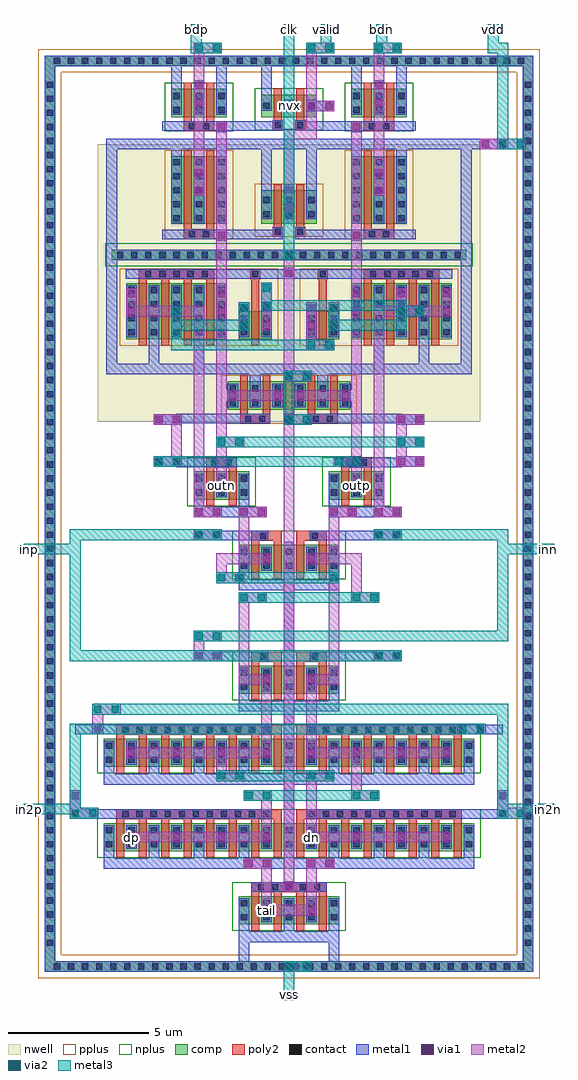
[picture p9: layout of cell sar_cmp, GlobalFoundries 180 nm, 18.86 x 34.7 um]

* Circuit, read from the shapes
.subckt sar_cmp bdn bdp clk dn dp in2n in2p inn inp nvx outn outp tail valid vdd vss
XM1 dp in2p tail vss nfet_03v3 w=1u l=0.28u m=16
XM2 dn in2n tail vss nfet_03v3 w=1u l=0.28u m=16
XM3 bdp outn vss vss nfet_03v3 w=1u l=0.28u m=2
XM4 outn outp dp vss nfet_03v3 w=1u l=0.28u m=2
XM5 tail clk vss vss nfet_03v3 w=1u l=0.28u m=4
XM6 dn inn tail vss nfet_03v3 w=1u l=0.28u m=4
XM7 dp inp tail vss nfet_03v3 w=1u l=0.28u m=4
XM8 nvx outn vss vss nfet_03v3 w=0.8u l=0.28u
XM9 valid outp nvx vss nfet_03v3 w=0.8u l=0.28u
XM10 outp outn dn vss nfet_03v3 w=1u l=0.28u m=2
XM11 bdn outp vss vss nfet_03v3 w=1u l=0.28u m=2
XM12 vdd clk dp vdd pfet_03v3 w=2u l=0.28u m=3
XM13 bdp outn vdd vdd pfet_03v3 w=2.4u l=0.28u m=2
XM14 outn clk vdd vdd pfet_03v3 w=2u l=0.28u
XM15 vdd outp outn vdd pfet_03v3 w=1u l=0.28u m=2
XM16 dn clk dp vdd pfet_03v3 w=1u l=0.28u m=2
XM17 valid outn vdd vdd pfet_03v3 w=1.2u l=0.28u
XM18 outp clk outn vdd pfet_03v3 w=1u l=0.28u
XM19 vdd outp valid vdd pfet_03v3 w=1.2u l=0.28u
XM20 vdd outn outp vdd pfet_03v3 w=1u l=0.28u m=2
XM21 vdd clk outp vdd pfet_03v3 w=2u l=0.28u
XM22 bdn outp vdd vdd pfet_03v3 w=2.4u l=0.28u m=2
XM23 dn clk vdd vdd pfet_03v3 w=2u l=0.28u m=3
.ends

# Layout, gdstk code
import gdstk
lib = gdstk.Library(unit=1e-6, precision=1e-09)
def R(c, l, rs):  # rectangles x0, y0, x1, y1
    for r in rs: c.add(gdstk.rectangle(r[:2], r[2:], *l))
def A(c, l, x, y, w, h, nx, ny, dx, dy):  # array of equal rectangles
    R(c, l, [(x+i*dx, y+j*dy, x+i*dx+w, y+j*dy+h) for i in range(nx) for j in range(ny)])
nwell = (21, 0)
comp = (22, 0)
poly2 = (30, 0)
pplus = (31, 0)
nplus = (32, 0)
contact = (33, 0)
metal1 = (34, 0)
via1 = (35, 0)
metal2 = (36, 0)
via2 = (38, 0)
metal3 = (42, 0)

sar_cmp = lib.new_cell('sar_cmp')
R(sar_cmp, nwell, [(2.44,20.37,16.04,30.23)])
R(sar_cmp, comp, [(0.56,0.82,0.92,33.38), (0.74,0.82,17.74,1.18), (17.56,0.82,17.92,33.38), (7.46,2.5,11.02,3.5), (2.66,5.1,15.82,6.1), (2.66,8.1,15.82,9.1), (7.46,10.7,11.02,11.7), (7.46,15,11.02,16), (5.86,17.6,7.82,18.6), (10.66,17.6,12.62,18.6), (7.06,20.8,11.42,21.8), (3.46,23.3,7.02,25.3), (7.46,23.3,8.62,24.3), (9.86,23.3,11.02,24.3), (11.46,23.3,15.02,25.3), (2.94,26.12,15.54,26.48), (5.06,27.4,7.02,29.8), (8.26,27.4,10.22,28.6), (11.46,27.4,13.42,29.8), (5.06,31.2,7.02,32.2), (8.26,31.2,10.22,32), (11.46,31.2,13.42,32.2), (0.74,33.02,17.74,33.38)])
A(sar_cmp, poly2, 7.9, 2.28, 0.28, 1.72, 4, 2, 0.8, 8.2)
A(sar_cmp, poly2, 3.1, 4.88, 0.28, 1.72, 16, 2, 0.8, 3)
A(sar_cmp, poly2, 7.9, 14.78, 0.28, 1.72, 4, 1, 0.8, 0)
A(sar_cmp, poly2, 7.5, 20.3, 0.28, 1.72, 5, 1, 0.8, 0)
A(sar_cmp, poly2, 3.9, 23.08, 0.28, 2.72, 4, 1, 0.8, 0)
A(sar_cmp, poly2, 11.9, 23.08, 0.28, 2.72, 4, 1, 0.8, 0)
R(sar_cmp, poly2, [(7.9,3.64,10.58,4), (3.1,6.24,8.98,6.6), (9.5,6.24,15.38,6.6), (3.1,9.24,8.98,9.6), (9.5,9.24,15.38,9.6), (7.9,11.84,8.98,12.2), (9.5,11.84,10.58,12.2), (7.9,16.14,8.98,16.5), (9.5,16.14,10.58,16.5), (6.3,17.38,6.58,19.1), (7.1,17.38,7.38,19.1), (11.1,17.38,11.38,19.1), (11.9,17.38,12.18,19.1), (6.3,18.74,7.38,19.1), (11.1,18.74,12.18,19.1), (7.5,20.3,8.58,20.66), (9.06,20.3,9.42,20.66), (9.9,20.3,10.98,20.66), (7.9,23.08,8.18,25.8), (10.3,23.08,10.58,25.8), (3.9,25.44,6.58,25.8), (7.86,25.44,8.22,25.8), (10.26,25.44,10.62,25.8), (11.9,25.44,14.58,25.8), (5.5,26.85,5.78,30.02), (5.5,26.85,6.58,27.21), (6.3,26.85,6.58,30.02), (11.9,26.85,12.18,30.02), (11.9,26.85,12.98,27.21), (12.7,26.85,12.98,30.02), (8.66,26.94,9.02,27.3), (8.7,26.94,8.98,28.82), (9.46,26.94,9.82,27.3), (9.5,26.94,9.78,28.82), (5.5,30.7,6.58,31.06), (5.5,30.7,5.78,32.42), (6.3,30.7,6.58,32.42), (11.9,30.7,12.98,31.06), (11.9,30.7,12.18,32.42), (12.7,30.7,12.98,32.42), (8.66,30.74,9.02,31.1), (8.7,30.74,8.98,32.22), (9.46,30.74,9.82,31.1), (9.5,30.74,9.78,32.22)])
R(sar_cmp, pplus, [(0.33,0.59,1.15,33.61), (0.51,0.59,17.97,1.41), (17.33,0.59,18.15,33.61), (6.83,20.3,11.65,22.03), (3.23,23.07,7.25,25.8), (7.23,23.07,8.85,25.8), (9.63,23.07,11.25,25.8), (11.23,23.07,15.25,25.8), (4.83,26.85,7.25,30.03), (11.23,26.85,13.65,30.03), (8.03,26.94,10.45,28.83), (0.51,32.79,17.97,33.61)])
R(sar_cmp, nplus, [(7.23,2.27,11.25,4), (2.43,4.87,16.05,6.6), (2.43,7.87,16.05,9.6), (7.23,10.47,11.25,12.2), (7.23,14.77,11.25,16.5), (5.63,17.37,8.05,19.1), (10.43,17.37,12.85,19.1), (2.71,25.89,15.77,26.71), (4.83,30.7,7.25,32.43), (11.23,30.7,13.65,32.43), (8.03,30.74,10.45,32.23)])
A(sar_cmp, contact, 0.88, 0.89, 0.22, 0.22, 34, 2, 0.5, 32.2)
A(sar_cmp, contact, 0.63, 1.74, 0.22, 0.22, 1, 62, 0, 0.5)
A(sar_cmp, contact, 17.63, 1.74, 0.22, 0.22, 1, 62, 0, 0.5)
A(sar_cmp, contact, 7.53, 2.64, 0.22, 0.22, 5, 2, 0.8, 0.5)
A(sar_cmp, contact, 8.13, 3.71, 0.22, 0.22, 5, 1, 0.5, 0)
A(sar_cmp, contact, 2.73, 5.24, 0.22, 0.22, 17, 2, 0.8, 0.5)
A(sar_cmp, contact, 3.315, 6.31, 0.22, 0.22, 11, 2, 0.5, 3)
A(sar_cmp, contact, 9.945, 6.31, 0.22, 0.22, 11, 2, 0.5, 3)
A(sar_cmp, contact, 2.73, 8.24, 0.22, 0.22, 17, 2, 0.8, 0.5)
A(sar_cmp, contact, 7.53, 10.84, 0.22, 0.22, 5, 2, 0.8, 0.5)
A(sar_cmp, contact, 7.53, 15.14, 0.22, 0.22, 5, 2, 0.8, 0.5)
A(sar_cmp, contact, 5.93, 17.74, 0.22, 0.22, 3, 2, 0.8, 0.5)
A(sar_cmp, contact, 10.73, 17.74, 0.22, 0.22, 3, 2, 0.8, 0.5)
A(sar_cmp, contact, 8.18, 20.37, 0.22, 0.22, 3, 1, 0.95, 0)
A(sar_cmp, contact, 7.13, 20.94, 0.22, 0.22, 6, 2, 0.8, 0.5)
A(sar_cmp, contact, 3.53, 23.44, 0.22, 0.22, 7, 2, 0.8, 0.5)
A(sar_cmp, contact, 9.93, 23.44, 0.22, 0.22, 7, 2, 0.8, 0.5)
A(sar_cmp, contact, 3.53, 24.44, 0.22, 0.22, 5, 2, 0.8, 0.5)
A(sar_cmp, contact, 11.53, 24.44, 0.22, 0.22, 5, 2, 0.8, 0.5)
A(sar_cmp, contact, 4.13, 25.51, 0.22, 0.22, 5, 1, 0.5, 0)
A(sar_cmp, contact, 12.13, 25.51, 0.22, 0.22, 5, 1, 0.5, 0)
A(sar_cmp, contact, 3.13, 26.19, 0.22, 0.22, 25, 1, 0.5, 0)
A(sar_cmp, contact, 5.13, 27.49, 0.22, 0.22, 3, 5, 0.8, 0.5)
A(sar_cmp, contact, 11.53, 27.49, 0.22, 0.22, 3, 5, 0.8, 0.5)
A(sar_cmp, contact, 8.33, 27.64, 0.22, 0.22, 3, 2, 0.8, 0.5)
A(sar_cmp, contact, 5.13, 31.34, 0.22, 0.22, 3, 2, 0.8, 0.5)
A(sar_cmp, contact, 11.53, 31.34, 0.22, 0.22, 3, 2, 0.8, 0.5)
A(sar_cmp, contact, 8.33, 31.49, 0.22, 0.22, 3, 1, 0.8, 0)
R(sar_cmp, contact, [(8.215,11.91,8.435,12.13), (10.045,11.91,10.265,12.13), (8.215,16.21,8.435,16.43), (10.045,16.21,10.265,16.43), (6.48,18.81,6.7,19.03), (6.98,18.81,7.2,19.03), (11.28,18.81,11.5,19.03), (11.78,18.81,12,19.03), (7.68,20.37,7.9,20.59), (10.58,20.37,10.8,20.59), (7.93,25.51,8.15,25.73), (10.33,25.51,10.55,25.73), (5.68,26.92,5.9,27.14), (6.18,26.92,6.4,27.14), (12.08,26.92,12.3,27.14), (12.58,26.92,12.8,27.14), (8.73,27.01,8.95,27.23), (9.53,27.01,9.75,27.23), (5.68,30.77,5.9,30.99), (6.18,30.77,6.4,30.99), (12.08,30.77,12.3,30.99), (12.58,30.77,12.8,30.99), (8.73,30.81,8.95,31.03), (9.53,30.81,9.75,31.03)])
A(sar_cmp, metal1, 7.45, 1.87, 0.38, 1.55, 3, 2, 1.6, 8.2)
A(sar_cmp, metal1, 7.45, 2.58, 0.38, 0.84, 5, 2, 0.8, 8.2)
A(sar_cmp, metal1, 2.65, 4.47, 0.38, 1.55, 9, 2, 1.6, 3)
A(sar_cmp, metal1, 2.65, 5.18, 0.38, 0.84, 17, 2, 0.8, 3)
A(sar_cmp, metal1, 7.45, 14.37, 0.38, 1.55, 3, 1, 1.6, 0)
A(sar_cmp, metal1, 7.45, 15.08, 0.38, 0.84, 5, 1, 0.8, 0)
A(sar_cmp, metal1, 5.85, 17.68, 0.38, 0.84, 3, 1, 0.8, 0)
A(sar_cmp, metal1, 10.65, 17.68, 0.38, 0.84, 3, 1, 0.8, 0)
A(sar_cmp, metal1, 7.05, 20.88, 0.38, 0.84, 6, 1, 0.8, 0)
A(sar_cmp, metal1, 3.45, 23.38, 0.38, 1.84, 5, 1, 0.8, 0)
A(sar_cmp, metal1, 11.45, 23.38, 0.38, 1.84, 5, 1, 0.8, 0)
A(sar_cmp, metal1, 11.45, 24.11, 0.38, 1, 3, 1, 1.6, 0)
A(sar_cmp, metal1, 5.05, 27.43, 0.38, 2.34, 3, 1, 0.8, 0)
A(sar_cmp, metal1, 11.45, 27.43, 0.38, 2.34, 3, 1, 0.8, 0)
A(sar_cmp, metal1, 8.25, 27.58, 0.38, 0.84, 3, 1, 0.8, 0)
A(sar_cmp, metal1, 5.05, 30.05, 1.98, 0.38, 3, 1, 3.2, 0)
A(sar_cmp, metal1, 5.05, 31.28, 0.38, 0.84, 3, 1, 0.8, 0)
A(sar_cmp, metal1, 11.45, 31.28, 0.38, 0.84, 3, 1, 0.8, 0)
A(sar_cmp, metal1, 8.25, 31.43, 0.38, 0.38, 3, 1, 0.8, 0)
R(sar_cmp, metal1, [(0.74,0.81,17.74,1.19), (7.45,0.81,7.83,2.25), (9.05,0.81,9.43,1.19), (9.05,0.81,9.43,1.19), (9.05,0.81,10.05,1.19), (10.65,0.81,11.03,2.25), (0.55,0.82,0.93,33.38), (17.55,0.82,17.93,33.38), (7.45,1.87,11.03,2.25), (8.25,2.81,8.63,3.19), (8.25,2.81,8.63,3.19), (9.85,2.81,10.23,3.19), (9.85,2.81,10.23,3.19), (7.9,3.65,10.58,3.99), (9.05,3.66,9.43,4.04), (9.05,3.66,9.43,4.04), (2.65,4.47,15.83,4.85), (7.63,4.47,8.63,4.85), (8.25,4.47,8.63,4.85), (8.25,4.47,8.63,4.85), (9.05,4.47,9.43,16.11), (9.85,4.47,10.23,4.85), (9.85,4.47,10.23,4.85), (9.85,4.47,10.85,4.85), (3.45,5.41,3.83,5.79), (3.45,5.41,3.83,5.79), (5.05,5.41,5.43,5.79), (5.05,5.41,5.43,5.79), (6.65,5.41,7.03,5.79), (6.65,5.41,7.03,5.79), (8.25,5.41,8.63,5.79), (8.25,5.41,8.63,5.79), (9.85,5.41,10.23,5.79), (9.85,5.41,10.23,5.79), (11.45,5.41,11.83,5.79), (11.45,5.41,11.83,5.79), (13.05,5.41,13.43,5.79), (13.05,5.41,13.43,5.79), (14.65,5.41,15.03,5.79), (14.65,5.41,15.03,5.79), (1.64,6.25,8.595,6.59), (9.885,6.25,16.84,6.59), (1.45,6.26,1.83,6.64), (1.45,6.26,1.83,6.64), (1.45,6.26,1.83,7.26), (16.65,6.26,17.03,6.64), (16.65,6.26,17.03,6.64), (16.65,6.26,17.03,7.26), (2.65,7.47,15.83,7.85), (3.45,8.41,3.83,8.79), (3.45,8.41,3.83,8.79), (5.05,8.41,5.43,8.79), (5.05,8.41,5.43,8.79), (6.65,8.41,7.03,8.79), (6.65,8.41,7.03,8.79), (8.25,8.41,8.63,8.79), (8.25,8.41,8.63,8.79), (9.85,8.41,10.23,8.79), (9.85,8.41,10.23,8.79), (11.45,8.41,11.83,8.79), (11.45,8.41,11.83,8.79), (13.05,8.41,13.43,8.79), (13.05,8.41,13.43,8.79), (14.65,8.41,15.03,8.79), (14.65,8.41,15.03,8.79), (1.64,9.25,8.595,9.59), (9.885,9.25,16.84,9.59), (2.25,9.26,2.63,9.64), (2.25,9.26,2.63,9.64), (15.85,9.26,16.23,9.64), (15.85,9.26,16.23,9.64), (7.45,10.07,11.03,10.45), (8.25,11.01,8.63,11.39), (8.25,11.01,8.63,11.39), (9.85,11.01,10.23,11.39), (9.85,11.01,10.23,11.39), (6.04,11.85,8.495,12.19), (9.985,11.85,12.44,12.19), (5.85,11.86,6.23,12.24), (5.85,11.86,6.23,12.24), (5.85,11.86,6.85,12.24), (12.25,11.86,12.63,12.24), (12.25,11.86,12.63,12.24), (12.25,11.86,13.25,12.24), (7.45,14.37,11.03,14.75), (8.25,15.31,8.63,15.69), (8.25,15.31,8.63,15.69), (9.85,15.31,10.23,15.69), (9.85,15.31,10.23,15.69), (6.04,16.15,8.495,16.49), (9.985,16.15,12.44,16.49), (5.85,16.16,6.23,16.54), (5.85,16.16,6.23,16.54), (5.85,16.16,6.85,16.54), (12.25,16.16,12.63,16.54), (12.25,16.16,12.63,16.54), (12.25,16.16,13.25,16.54), (5.85,16.97,7.83,17.35), (5.85,16.97,6.23,18.52), (5.85,16.97,6.23,17.35), (5.85,16.97,6.23,17.35), (5.85,16.97,6.85,17.35), (7.45,16.97,7.83,18.52), (7.45,16.97,7.83,17.35), (7.45,16.97,7.83,17.35), (7.45,16.97,8.45,17.35), (10.65,16.97,12.63,17.35), (10.65,16.97,11.03,18.52), (10.65,16.97,11.03,17.35), (10.65,16.97,11.03,17.35), (10.65,16.97,11.65,17.35), (12.25,16.97,12.63,18.52), (12.25,16.97,12.63,17.35), (12.25,16.97,12.63,17.35), (12.25,16.97,13.25,17.35), (6.65,17.91,7.03,18.29), (6.65,17.91,7.03,18.29), (11.45,17.91,11.83,18.29), (11.45,17.91,11.83,18.29), (5.24,18.75,7.38,19.09), (11.1,18.75,13.24,19.09), (4.43,18.76,5.43,19.14), (5.05,18.76,5.43,19.14), (5.05,18.76,5.43,19.14), (13.05,18.76,13.43,19.14), (13.05,18.76,13.43,19.14), (13.05,18.76,14.05,19.14), (4.43,20.26,5.43,20.64), (5.05,20.26,5.43,20.64), (5.05,20.26,5.43,20.64), (9.05,20.26,9.43,20.64), (9.05,20.26,9.43,20.64), (13.05,20.26,13.43,20.64), (13.05,20.26,13.43,20.64), (13.05,20.26,14.05,20.64), (5.24,20.31,8.58,20.65), (9.06,20.31,9.42,20.65), (9.9,20.31,13.24,20.65), (7.85,20.88,8.23,22.43), (10.25,20.88,10.63,22.43), (7.05,21.11,7.43,21.49), (7.05,21.11,7.43,21.49), (8.65,21.11,9.03,21.49), (8.65,21.11,9.03,21.49), (9.45,21.11,9.83,21.49), (9.45,21.11,9.83,21.49), (11.05,21.11,11.43,21.49), (11.05,21.11,11.43,21.49), (2.75,22.05,15.73,22.43), (2.75,22.05,3.13,26.49), (4.25,22.05,6.23,22.43), (4.25,22.05,4.63,25.22), (5.85,22.05,6.23,25.22), (7.85,22.05,10.63,22.43), (12.25,22.05,14.23,22.43), (12.25,22.05,12.63,25.22), (13.85,22.05,14.23,25.22), (15.35,22.05,15.73,26.49), (7.45,23.38,7.83,24.22), (8.25,23.38,8.63,24.22), (9.85,23.38,10.23,24.22), (10.65,23.38,11.03,24.22), (7.45,23.61,7.83,23.99), (7.45,23.61,7.83,23.99), (7.45,23.61,7.83,24.61), (8.25,23.61,8.63,23.99), (8.25,23.61,8.63,23.99), (8.25,23.61,8.63,24.61), (9.85,23.61,10.23,23.99), (9.85,23.61,10.23,23.99), (9.85,23.61,10.23,24.61), (10.65,23.61,11.03,23.99), (10.65,23.61,11.03,23.99), (10.65,23.61,11.03,24.61), (3.45,24.11,3.83,24.49), (3.45,24.11,3.83,24.49), (3.45,24.11,3.83,25.11), (5.05,24.11,5.43,24.49), (5.05,24.11,5.43,24.49), (6.65,24.11,7.03,24.49), (6.65,24.11,7.03,24.49), (6.65,24.11,7.03,25.11), (11.45,24.11,11.83,24.49), (11.45,24.11,11.83,24.49), (13.05,24.11,13.43,24.49), (13.05,24.11,13.43,24.49), (14.65,24.11,15.03,24.49), (14.65,24.11,15.03,24.49), (3.44,25.45,6.58,25.79), (3.74,25.45,14.74,25.79), (7.86,25.45,8.22,25.79), (10.26,25.45,10.62,25.79), (11.9,25.45,15.04,25.79), (9.05,25.46,9.43,25.84), (9.05,25.46,9.43,25.84), (2.75,26.11,3.13,30.43), (2.94,26.11,15.54,26.49), (15.35,26.11,15.73,30.43), (6.65,26.81,7.03,27.19), (6.65,26.81,7.03,27.19), (11.45,26.81,11.83,27.19), (11.45,26.81,11.83,27.19), (4.74,26.86,9.01,27.2), (9.47,26.86,13.74,27.2), (8.66,26.95,9.02,27.29), (9.46,26.95,9.82,27.29), (5.05,27.43,5.43,30.43), (6.65,27.43,7.03,30.43), (11.45,27.43,11.83,30.43), (13.05,27.43,13.43,30.43), (8.25,27.58,8.63,30.43), (9.85,27.58,10.23,30.43), (9.05,27.81,9.43,28.19), (9.05,27.81,9.43,28.19), (9.05,27.81,9.43,28.81), (5.85,28.41,6.23,28.79), (5.85,28.41,6.23,28.79), (5.85,28.41,6.23,29.41), (12.25,28.41,12.63,28.79), (12.25,28.41,12.63,28.79), (12.25,28.41,12.63,29.41), (2.75,30.05,17.03,30.43), (16.03,30.05,17.03,30.43), (16.65,30.05,17.03,30.43), (16.65,30.05,17.03,30.43), (6.65,30.66,7.03,31.04), (6.65,30.66,7.03,31.04), (11.45,30.66,11.83,31.04), (11.45,30.66,11.83,31.04), (4.74,30.71,9.01,31.05), (9.47,30.71,13.74,31.05), (8.66,30.75,9.02,31.09), (9.46,30.75,9.82,31.09), (5.05,31.28,5.43,33.39), (6.65,31.28,7.03,33.39), (11.45,31.28,11.83,33.39), (13.05,31.28,13.43,33.39), (9.85,31.41,10.23,31.79), (9.85,31.41,10.23,31.79), (9.85,31.41,10.85,31.79), (8.25,31.43,8.63,33.39), (5.85,31.51,6.23,31.89), (5.85,31.51,6.23,31.89), (5.85,31.51,6.23,32.51), (12.25,31.51,12.63,31.89), (12.25,31.51,12.63,31.89), (12.25,31.51,12.63,32.51), (0.74,33.01,17.74,33.39)])
A(sar_cmp, via1, 3.51, 5.47, 0.26, 0.26, 8, 2, 1.6, 3)
A(sar_cmp, via1, 5.11, 20.32, 0.26, 0.26, 3, 1, 4, 0)
A(sar_cmp, via1, 3.51, 24.17, 0.26, 0.26, 3, 1, 1.6, 0)
A(sar_cmp, via1, 11.51, 24.17, 0.26, 0.26, 3, 2, 1.6, 0.62)
R(sar_cmp, via1, [(9.11,0.87,9.37,1.13), (9.73,0.87,9.99,1.13), (8.31,2.87,8.57,3.13), (9.91,2.87,10.17,3.13), (9.11,3.72,9.37,3.98), (7.69,4.53,7.95,4.79), (8.31,4.53,8.57,4.79), (9.91,4.53,10.17,4.79), (10.53,4.53,10.79,4.79), (1.51,6.32,1.77,6.58), (16.71,6.32,16.97,6.58), (1.51,6.94,1.77,7.2), (16.71,6.94,16.97,7.2), (2.31,9.32,2.57,9.58), (15.91,9.32,16.17,9.58), (8.31,11.07,8.57,11.33), (9.91,11.07,10.17,11.33), (5.91,11.92,6.17,12.18), (6.53,11.92,6.79,12.18), (12.31,11.92,12.57,12.18), (12.93,11.92,13.19,12.18), (8.31,15.37,8.57,15.63), (9.91,15.37,10.17,15.63), (5.91,16.22,6.17,16.48), (6.53,16.22,6.79,16.48), (12.31,16.22,12.57,16.48), (12.93,16.22,13.19,16.48), (5.91,17.03,6.17,17.29), (6.53,17.03,6.79,17.29), (7.51,17.03,7.77,17.29), (8.13,17.03,8.39,17.29), (10.71,17.03,10.97,17.29), (11.33,17.03,11.59,17.29), (12.31,17.03,12.57,17.29), (12.93,17.03,13.19,17.29), (6.71,17.97,6.97,18.23), (11.51,17.97,11.77,18.23), (4.49,18.82,4.75,19.08), (5.11,18.82,5.37,19.08), (13.11,18.82,13.37,19.08), (13.73,18.82,13.99,19.08), (4.49,20.32,4.75,20.58), (13.73,20.32,13.99,20.58), (7.11,21.17,7.37,21.43), (8.71,21.17,8.97,21.43), (9.51,21.17,9.77,21.43), (11.11,21.17,11.37,21.43), (7.51,23.67,7.77,23.93), (8.31,23.67,8.57,23.93), (9.91,23.67,10.17,23.93), (10.71,23.67,10.97,23.93), (7.51,24.29,7.77,24.55), (8.31,24.29,8.57,24.55), (9.91,24.29,10.17,24.55), (10.71,24.29,10.97,24.55), (3.51,24.79,3.77,25.05), (6.71,24.79,6.97,25.05), (9.11,25.52,9.37,25.78), (6.71,26.87,6.97,27.13), (11.51,26.87,11.77,27.13), (9.11,27.87,9.37,28.13), (5.91,28.47,6.17,28.73), (12.31,28.47,12.57,28.73), (9.11,28.49,9.37,28.75), (5.91,29.09,6.17,29.35), (12.31,29.09,12.57,29.35), (16.09,30.11,16.35,30.37), (16.71,30.11,16.97,30.37), (6.71,30.72,6.97,30.98), (11.51,30.72,11.77,30.98), (9.91,31.47,10.17,31.73), (10.53,31.47,10.79,31.73), (5.91,31.57,6.17,31.83), (12.31,31.57,12.57,31.83), (5.91,32.19,6.17,32.45), (12.31,32.19,12.57,32.45)])
A(sar_cmp, metal2, 11.45, 24.11, 0.38, 1, 3, 1, 1.6, 0)
R(sar_cmp, metal2, [(9.05,0.81,9.43,1.19), (9.05,0.81,9.43,1.19), (9.05,0.81,9.43,1.19), (9.05,0.81,9.43,1.19), (9.05,0.81,10.05,1.19), (9.05,0.81,10.05,1.19), (8.25,2.81,8.63,4.85), (8.25,2.81,8.63,3.19), (8.25,2.81,8.63,3.19), (8.25,2.81,10.23,3.19), (9.85,2.81,10.23,4.85), (9.85,2.81,10.23,3.19), (9.85,2.81,10.23,3.19), (9.05,3.66,9.43,4.04), (9.05,3.66,9.43,4.04), (9.05,3.66,9.43,20.64), (7.63,4.47,8.63,4.85), (8.25,4.47,8.63,4.85), (8.25,4.47,8.63,4.85), (9.85,4.47,10.23,4.85), (9.85,4.47,10.23,4.85), (9.85,4.47,10.85,4.85), (3.45,5.41,8.63,5.79), (3.45,5.41,3.83,5.79), (3.45,5.41,3.83,5.79), (5.05,5.41,5.43,5.79), (5.05,5.41,5.43,5.79), (6.65,5.41,7.03,5.79), (6.65,5.41,7.03,5.79), (8.25,5.41,8.63,5.79), (8.25,5.41,8.63,5.79), (8.25,5.41,8.63,7.27), (9.85,5.41,10.23,7.97), (9.85,5.41,15.03,5.79), (9.85,5.41,10.23,5.79), (9.85,5.41,10.23,5.79), (11.45,5.41,11.83,5.79), (11.45,5.41,11.83,5.79), (13.05,5.41,13.43,5.79), (13.05,5.41,13.43,5.79), (14.65,5.41,15.03,5.79), (14.65,5.41,15.03,5.79), (1.45,6.26,1.83,7.26), (1.45,6.26,1.83,6.64), (1.45,6.26,1.83,6.64), (1.45,6.26,1.83,6.64), (1.45,6.26,1.83,6.64), (1.45,6.26,2.45,6.64), (16.65,6.26,17.03,7.26), (16.65,6.26,17.03,6.64), (16.65,6.26,17.03,6.64), (16.65,6.26,17.03,6.64), (16.65,6.26,17.03,6.64), (16.65,6.26,17.65,6.64), (7.63,6.89,8.63,7.27), (8.25,6.89,8.63,7.27), (8.25,6.89,8.63,7.27), (11.45,6.89,11.83,8.79), (11.45,6.89,11.83,7.27), (11.45,6.89,11.83,7.27), (11.45,6.89,12.45,7.27), (6.65,7.59,7.03,8.79), (6.65,7.59,7.03,7.97), (6.65,7.59,7.03,7.97), (6.65,7.59,7.65,7.97), (9.85,7.59,10.23,7.97), (9.85,7.59,10.23,7.97), (9.85,7.59,10.85,7.97), (3.45,8.41,8.63,8.79), (3.45,8.41,3.83,8.79), (3.45,8.41,3.83,8.79), (5.05,8.41,5.43,8.79), (5.05,8.41,5.43,8.79), (6.65,8.41,7.03,8.79), (6.65,8.41,7.03,8.79), (8.25,8.41,8.63,11.39), (8.25,8.41,8.63,8.79), (8.25,8.41,8.63,8.79), (9.85,8.41,15.03,8.79), (9.85,8.41,10.23,11.39), (9.85,8.41,10.23,8.79), (9.85,8.41,10.23,8.79), (11.45,8.41,11.83,8.79), (11.45,8.41,11.83,8.79), (13.05,8.41,13.43,8.79), (13.05,8.41,13.43,8.79), (14.65,8.41,15.03,8.79), (14.65,8.41,15.03,8.79), (2.25,9.26,2.63,10.34), (2.25,9.26,2.63,9.64), (2.25,9.26,2.63,9.64), (15.23,9.26,16.23,9.64), (15.85,9.26,16.23,9.64), (15.85,9.26,16.23,9.64), (15.85,9.26,16.23,9.64), (15.85,9.26,16.23,9.64), (2.25,9.96,2.63,10.34), (2.25,9.96,2.63,10.34), (2.25,9.96,3.25,10.34), (7.45,11.01,7.83,14.31), (7.45,11.01,8.63,11.39), (8.25,11.01,8.63,11.39), (8.25,11.01,8.63,11.39), (9.85,11.01,10.23,11.39), (9.85,11.01,10.23,11.39), (9.85,11.01,11.03,11.39), (10.65,11.01,11.03,15.01), (5.85,11.86,6.23,12.94), (5.85,11.86,6.23,12.24), (5.85,11.86,6.23,12.24), (5.85,11.86,6.85,12.24), (12.25,11.86,12.63,12.24), (12.25,11.86,12.63,12.24), (12.25,11.86,12.63,12.24), (12.25,11.86,12.63,12.24), (12.25,11.86,13.25,12.24), (12.25,11.86,13.25,12.24), (5.85,12.56,6.23,12.94), (5.85,12.56,6.23,12.94), (5.85,12.56,6.85,12.94), (7.45,13.93,7.83,14.31), (7.45,13.93,7.83,14.31), (7.45,13.93,8.45,14.31), (11.45,13.93,11.83,15.69), (11.45,13.93,11.83,14.31), (11.45,13.93,11.83,14.31), (11.45,13.93,12.45,14.31), (6.65,14.63,7.03,15.01), (6.65,14.63,7.03,15.01), (6.65,14.63,7.65,15.01), (6.65,14.63,7.03,15.69), (10.65,14.63,11.03,15.01), (10.65,14.63,11.03,15.01), (6.65,15.31,8.63,15.69), (7.45,15.31,7.83,17.35), (8.25,15.31,8.63,15.69), (8.25,15.31,8.63,15.69), (9.85,15.31,10.23,15.69), (9.85,15.31,10.23,15.69), (9.85,15.31,11.83,15.69), (10.65,15.31,11.03,17.35), (5.85,16.16,6.23,16.54), (5.85,16.16,6.23,16.54), (5.85,16.16,6.23,16.54), (5.85,16.16,6.23,16.54), (5.85,16.16,6.85,16.54), (5.85,16.16,6.85,16.54), (12.25,16.16,12.63,16.54), (12.25,16.16,12.63,16.54), (12.25,16.16,12.63,16.54), (12.25,16.16,12.63,16.54), (12.25,16.16,13.25,16.54), (12.25,16.16,13.25,16.54), (5.85,16.97,6.23,17.35), (5.85,16.97,6.23,17.35), (5.85,16.97,6.23,24.49), (5.85,16.97,6.85,17.35), (7.45,16.97,7.83,17.35), (7.45,16.97,7.83,17.35), (7.45,16.97,8.45,17.35), (10.65,16.97,11.03,17.35), (10.65,16.97,11.03,17.35), (10.65,16.97,11.65,17.35), (12.25,16.97,12.63,17.35), (12.25,16.97,12.63,17.35), (12.25,16.97,12.63,24.49), (12.25,16.97,13.25,17.35), (6.65,17.91,7.03,18.29), (6.65,17.91,7.03,18.29), (6.65,17.91,7.03,31.04), (11.45,17.91,11.83,18.29), (11.45,17.91,11.83,18.29), (11.45,17.91,11.83,31.04), (4.43,18.76,5.43,19.14), (4.43,18.76,5.43,19.14), (5.05,18.76,5.43,19.14), (5.05,18.76,5.43,19.14), (5.05,18.76,5.43,19.14), (5.05,18.76,5.43,19.14), (5.05,18.76,5.43,20.64), (10.83,18.76,11.83,19.14), (11.45,18.76,11.83,19.14), (11.45,18.76,11.83,19.14), (13.05,18.76,13.43,19.14), (13.05,18.76,13.43,19.14), (13.05,18.76,14.05,19.14), (13.05,18.76,13.43,20.64), (6.65,19.46,7.03,19.84), (6.65,19.46,7.03,19.84), (6.65,19.46,7.65,19.84), (13.05,19.46,13.43,19.84), (13.05,19.46,13.43,19.84), (13.05,19.46,14.05,19.84), (4.43,20.26,5.43,20.64), (5.05,20.26,5.43,20.64), (5.05,20.26,5.43,20.64), (9.05,20.26,9.43,20.64), (9.05,20.26,9.43,20.64), (9.05,20.26,9.43,20.64), (9.05,20.26,9.43,20.64), (9.05,20.26,10.05,20.64), (13.05,20.26,13.43,20.64), (13.05,20.26,13.43,20.64), (13.05,20.26,14.05,20.64), (6.65,21.11,9.03,21.49), (7.05,21.11,7.43,21.49), (7.05,21.11,7.43,21.49), (8.65,21.11,9.03,21.49), (8.65,21.11,9.03,21.49), (9.45,21.11,11.83,21.49), (9.45,21.11,9.83,21.49), (9.45,21.11,9.83,21.49), (11.05,21.11,11.43,21.49), (11.05,21.11,11.43,21.49), (9.05,21.81,9.43,26.49), (9.05,21.81,9.43,22.19), (9.05,21.81,9.43,22.19), (9.05,21.81,10.05,22.19), (9.85,22.91,10.23,23.99), (9.85,22.91,10.23,23.29), (9.85,22.91,10.23,23.29), (9.85,22.91,10.85,23.29), (7.45,23.61,7.83,24.61), (7.45,23.61,7.83,24.61), (7.45,23.61,7.83,23.99), (7.45,23.61,7.83,23.99), (7.45,23.61,7.83,23.99), (7.45,23.61,7.83,23.99), (8.25,23.61,8.63,24.61), (8.25,23.61,8.63,24.69), (8.25,23.61,8.63,23.99), (8.25,23.61,8.63,23.99), (9.85,23.61,10.23,24.61), (9.85,23.61,10.23,23.99), (9.85,23.61,10.23,23.99), (10.65,23.61,11.03,24.61), (10.65,23.61,11.03,24.61), (10.65,23.61,11.03,23.99), (10.65,23.61,11.03,23.99), (10.65,23.61,11.03,23.99), (10.65,23.61,11.03,23.99), (3.45,24.11,3.83,25.11), (3.45,24.11,6.23,24.49), (3.45,24.11,3.83,24.49), (3.45,24.11,3.83,24.49), (5.05,24.11,5.43,24.49), (5.05,24.11,5.43,24.49), (5.05,24.11,5.43,24.49), (5.05,24.11,5.43,24.49), (6.65,24.11,7.03,25.11), (6.65,24.11,7.03,24.49), (6.65,24.11,7.03,24.49), (11.45,24.11,11.83,24.49), (11.45,24.11,11.83,24.49), (12.25,24.11,15.03,24.49), (13.05,24.11,13.43,24.49), (13.05,24.11,13.43,24.49), (13.05,24.11,13.43,24.49), (13.05,24.11,13.43,24.49), (13.05,24.11,14.05,24.49), (14.65,24.11,15.03,24.49), (14.65,24.11,15.03,24.49), (8.25,24.31,8.63,25.31), (8.25,24.31,8.63,24.69), (8.25,24.31,8.63,24.69), (9.05,25.46,9.43,25.84), (9.05,25.46,9.43,25.84), (9.05,26.11,9.43,26.49), (9.05,26.11,9.43,26.49), (6.65,26.81,7.03,27.19), (6.65,26.81,7.03,27.19), (11.45,26.81,11.83,27.19), (11.45,26.81,11.83,27.19), (9.05,27.81,9.43,28.81), (9.05,27.81,9.43,30.79), (9.05,27.81,9.43,28.19), (9.05,27.81,9.43,28.19), (5.85,28.41,6.23,29.41), (5.85,28.41,6.23,28.79), (5.85,28.41,6.23,28.79), (5.85,28.41,6.23,31.89), (12.25,28.41,12.63,29.41), (12.25,28.41,12.63,28.79), (12.25,28.41,12.63,28.79), (12.25,28.41,12.63,31.89), (16.03,30.05,17.03,30.43), (16.65,30.05,17.03,30.43), (16.65,30.05,17.03,30.43), (16.65,30.05,17.03,30.43), (16.65,30.05,17.03,30.43), (16.65,30.05,17.65,30.43), (9.05,30.41,10.23,30.79), (9.85,30.41,10.23,31.79), (6.65,30.66,7.03,31.04), (6.65,30.66,7.03,31.04), (11.45,30.66,11.83,31.04), (11.45,30.66,11.83,31.04), (9.85,31.41,10.23,33.85), (9.85,31.41,10.23,31.79), (9.85,31.41,10.23,31.79), (9.85,31.41,10.85,31.79), (5.85,31.51,6.23,32.51), (5.85,31.51,6.23,33.85), (5.85,31.51,6.23,31.89), (5.85,31.51,6.23,31.89), (12.25,31.51,12.63,32.51), (12.25,31.51,12.63,33.85), (12.25,31.51,12.63,31.89), (12.25,31.51,12.63,31.89), (5.85,33.47,6.23,33.85), (5.85,33.47,6.23,33.85), (5.85,33.47,6.85,33.85), (9.85,33.47,10.23,33.85), (9.85,33.47,10.23,33.85), (9.85,33.47,10.85,33.85), (12.25,33.47,12.63,33.85), (12.25,33.47,12.63,33.85), (12.25,33.47,13.25,33.85)])
R(sar_cmp, via2, [(9.11,0.87,9.37,1.13), (9.73,0.87,9.99,1.13), (1.51,6.32,1.77,6.58), (2.13,6.32,2.39,6.58), (16.71,6.32,16.97,6.58), (17.33,6.32,17.59,6.58), (7.69,6.95,7.95,7.21), (8.31,6.95,8.57,7.21), (11.51,6.95,11.77,7.21), (12.13,6.95,12.39,7.21), (6.71,7.65,6.97,7.91), (7.33,7.65,7.59,7.91), (9.91,7.65,10.17,7.91), (10.53,7.65,10.79,7.91), (15.29,9.32,15.55,9.58), (15.91,9.32,16.17,9.58), (2.31,10.02,2.57,10.28), (2.93,10.02,3.19,10.28), (12.31,11.92,12.57,12.18), (12.93,11.92,13.19,12.18), (5.91,12.62,6.17,12.88), (6.53,12.62,6.79,12.88), (7.51,13.99,7.77,14.25), (8.13,13.99,8.39,14.25), (11.51,13.99,11.77,14.25), (12.13,13.99,12.39,14.25), (6.71,14.69,6.97,14.95), (7.33,14.69,7.59,14.95), (10.71,14.69,10.97,14.95), (5.91,16.22,6.17,16.48), (6.53,16.22,6.79,16.48), (12.31,16.22,12.57,16.48), (12.93,16.22,13.19,16.48), (4.49,18.82,4.75,19.08), (5.11,18.82,5.37,19.08), (10.89,18.82,11.15,19.08), (11.51,18.82,11.77,19.08), (6.71,19.52,6.97,19.78), (7.33,19.52,7.59,19.78), (13.11,19.52,13.37,19.78), (13.73,19.52,13.99,19.78), (9.11,20.32,9.37,20.58), (9.73,20.32,9.99,20.58), (9.11,21.87,9.37,22.13), (9.73,21.87,9.99,22.13), (9.91,22.97,10.17,23.23), (10.53,22.97,10.79,23.23), (7.51,23.67,7.77,23.93), (10.71,23.67,10.97,23.93), (5.11,24.17,5.37,24.43), (13.11,24.17,13.37,24.43), (13.73,24.17,13.99,24.43), (7.51,24.29,7.77,24.55), (10.71,24.29,10.97,24.55), (8.31,24.37,8.57,24.63), (8.31,24.99,8.57,25.25), (9.11,26.17,9.37,26.43), (16.71,30.11,16.97,30.37), (17.33,30.11,17.59,30.37), (5.91,33.53,6.17,33.79), (6.53,33.53,6.79,33.79), (9.91,33.53,10.17,33.79), (10.53,33.53,10.79,33.79), (12.31,33.53,12.57,33.79), (12.93,33.53,13.19,33.79)])
R(sar_cmp, metal3, [(9.05,-0.19,9.43,1.19), (9.05,0.81,9.43,1.19), (9.05,0.81,9.43,1.19), (9.05,0.81,10.05,1.19), (1.45,6.26,1.83,9.64), (1.45,6.26,1.83,6.64), (1.45,6.26,1.83,6.64), (1.45,6.26,2.45,6.64), (16.65,6.26,17.03,10.34), (16.65,6.26,17.03,6.64), (16.65,6.26,17.03,6.64), (16.65,6.26,17.65,6.64), (-0.19,6.41,1.83,6.79), (16.65,6.41,18.67,6.79), (7.63,6.89,8.63,7.27), (8.25,6.89,11.83,7.27), (8.25,6.89,8.63,7.27), (8.25,6.89,8.63,7.27), (11.45,6.89,11.83,7.27), (11.45,6.89,11.83,7.27), (11.45,6.89,12.45,7.27), (6.65,7.59,10.23,7.97), (6.65,7.59,7.03,7.97), (6.65,7.59,7.03,7.97), (6.65,7.59,7.65,7.97), (9.85,7.59,10.23,7.97), (9.85,7.59,10.23,7.97), (9.85,7.59,10.85,7.97), (1.45,9.26,16.23,9.64), (15.23,9.26,16.23,9.64), (15.85,9.26,16.23,9.64), (15.85,9.26,16.23,9.64), (2.25,9.96,2.63,10.34), (2.25,9.96,2.63,10.34), (2.25,9.96,17.03,10.34), (2.25,9.96,3.25,10.34), (1.45,11.86,1.83,16.54), (1.45,11.86,12.63,12.24), (12.25,11.86,12.63,12.24), (12.25,11.86,12.63,12.24), (12.25,11.86,13.25,12.24), (5.85,12.56,6.23,12.94), (5.85,12.56,6.23,12.94), (5.85,12.56,17.03,12.94), (5.85,12.56,6.85,12.94), (16.65,12.56,17.03,16.54), (7.45,13.93,11.83,14.31), (7.45,13.93,7.83,14.31), (7.45,13.93,7.83,14.31), (7.45,13.93,8.45,14.31), (11.45,13.93,11.83,14.31), (11.45,13.93,11.83,14.31), (11.45,13.93,12.45,14.31), (6.65,14.63,11.03,15.01), (6.65,14.63,7.03,15.01), (6.65,14.63,7.03,15.01), (6.65,14.63,7.65,15.01), (10.65,14.63,11.03,15.01), (10.65,14.63,11.03,15.01), (-0.19,15.65,1.83,16.03), (1.45,15.65,1.83,16.54), (16.65,15.65,18.67,16.03), (16.65,15.65,17.03,16.54), (1.45,16.16,6.23,16.54), (5.85,16.16,6.23,16.54), (5.85,16.16,6.23,16.54), (5.85,16.16,6.85,16.54), (12.25,16.16,17.03,16.54), (12.25,16.16,12.63,16.54), (12.25,16.16,12.63,16.54), (12.25,16.16,13.25,16.54), (4.43,18.76,5.43,19.14), (5.05,18.76,11.83,19.14), (5.05,18.76,5.43,19.14), (5.05,18.76,5.43,19.14), (10.83,18.76,11.83,19.14), (11.45,18.76,11.83,19.14), (11.45,18.76,11.83,19.14), (6.65,19.46,13.43,19.84), (6.65,19.46,7.03,19.84), (6.65,19.46,7.03,19.84), (6.65,19.46,7.65,19.84), (13.05,19.46,13.43,19.84), (13.05,19.46,13.43,19.84), (13.05,19.46,14.05,19.84), (9.05,20.26,9.43,22.19), (9.05,20.26,9.43,20.64), (9.05,20.26,9.43,20.64), (9.05,20.26,10.05,20.64), (9.05,21.81,9.43,22.19), (9.05,21.81,9.43,22.19), (9.05,21.81,10.05,22.19), (5.05,22.91,5.43,24.49), (5.05,22.91,10.23,23.29), (9.85,22.91,10.23,23.29), (9.85,22.91,10.23,23.29), (9.85,22.91,10.85,23.29), (5.05,23.61,7.83,23.99), (7.45,23.61,7.83,24.61), (7.45,23.61,7.83,23.99), (7.45,23.61,7.83,23.99), (10.65,23.61,11.03,24.61), (10.65,23.61,13.43,23.99), (10.65,23.61,11.03,23.99), (10.65,23.61,11.03,23.99), (13.05,23.61,13.43,24.49), (13.05,23.61,13.43,24.69), (5.05,24.11,5.43,24.49), (5.05,24.11,5.43,24.49), (13.05,24.11,13.43,24.49), (13.05,24.11,13.43,24.49), (13.05,24.11,14.05,24.49), (8.25,24.31,8.63,25.31), (8.25,24.31,13.43,24.69), (8.25,24.31,8.63,24.69), (8.25,24.31,8.63,24.69), (9.05,26.11,9.43,34.51), (9.05,26.11,9.43,26.49), (9.05,26.11,9.43,26.49), (16.65,30.05,17.03,33.85), (16.65,30.05,17.03,30.43), (16.65,30.05,17.03,30.43), (16.65,30.05,17.65,30.43), (5.75,33.47,6.13,34.51), (5.75,33.47,6.23,33.85), (5.85,33.47,6.23,33.85), (5.85,33.47,6.23,33.85), (5.85,33.47,6.85,33.85), (9.85,33.47,10.75,33.85), (9.85,33.47,10.23,33.85), (9.85,33.47,10.23,33.85), (9.85,33.47,10.85,33.85), (10.37,33.47,10.75,34.51), (12.25,33.47,12.63,33.85), (12.25,33.47,12.63,33.85), (12.25,33.47,13.25,33.85), (12.25,33.47,12.73,33.85), (12.35,33.47,12.73,34.51), (16.31,33.47,17.03,33.85), (16.31,33.47,16.69,34.51)])
sar_cmp.add(gdstk.Label('inn', (18.48,15.84), layer=42, texttype=10))
sar_cmp.add(gdstk.Label('inp', (0,15.84), layer=42, texttype=10))
sar_cmp.add(gdstk.Label('in2n', (18.48,6.6), layer=42, texttype=10))
sar_cmp.add(gdstk.Label('in2p', (0,6.6), layer=42, texttype=10))
sar_cmp.add(gdstk.Label('valid', (10.56,34.32), layer=42, texttype=10))
sar_cmp.add(gdstk.Label('vdd', (16.5,34.32), layer=42, texttype=10))
sar_cmp.add(gdstk.Label('bdn', (12.54,34.32), layer=42, texttype=10))
sar_cmp.add(gdstk.Label('bdp', (5.94,34.32), layer=42, texttype=10))
sar_cmp.add(gdstk.Label('clk', (9.24,34.32), layer=42, texttype=10))
sar_cmp.add(gdstk.Label('vss', (9.24,0), layer=42, texttype=10))
sar_cmp.add(gdstk.Label('nvx', (9.24,31.6), layer=34, texttype=10))
sar_cmp.add(gdstk.Label('outp', (11.64,18.1), layer=34, texttype=10))
sar_cmp.add(gdstk.Label('outn', (6.84,18.1), layer=34, texttype=10))
sar_cmp.add(gdstk.Label('dn', (10.04,5.6), layer=34, texttype=10))
sar_cmp.add(gdstk.Label('tail', (8.44,3), layer=34, texttype=10))
sar_cmp.add(gdstk.Label('dp', (3.64,5.6), layer=34, texttype=10))

lib.write_gds('sar_cmp.gds')
